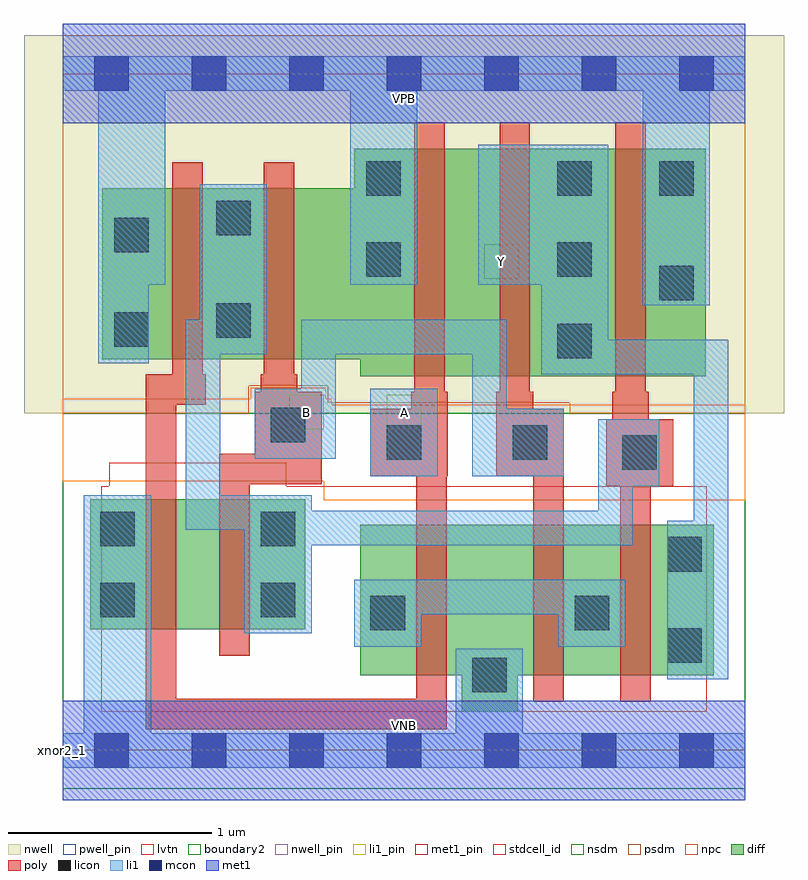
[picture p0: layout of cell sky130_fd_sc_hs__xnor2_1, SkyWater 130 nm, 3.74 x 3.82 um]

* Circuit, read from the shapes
.subckt sky130_fd_sc_hs__xnor2_1 A B VGND VNB VPB VPWR Y
XM1 n1 A VGND VNB sky130_fd_pr__nfet_01v8_lvt w=0.64 l=0.15
XM2 n2 B n1 VNB sky130_fd_pr__nfet_01v8_lvt w=0.64 l=0.15
XM3 VGND A n3 VNB sky130_fd_pr__nfet_01v8_lvt w=0.74 l=0.15
XM4 n3 B VGND VNB sky130_fd_pr__nfet_01v8_lvt w=0.74 l=0.15
XM5 Y n2 n3 VNB sky130_fd_pr__nfet_01v8_lvt w=0.74 l=0.15
XM6 n2 A VPWR VPB sky130_fd_pr__pfet_01v8 w=0.84 l=0.15
XM7 VPWR B n2 VPB sky130_fd_pr__pfet_01v8 w=0.84 l=0.15
XM8 n4 A VPWR VPB sky130_fd_pr__pfet_01v8 w=1.12 l=0.15
XM9 Y B n4 VPB sky130_fd_pr__pfet_01v8 w=1.12 l=0.15
XM10 VPWR n2 Y VPB sky130_fd_pr__pfet_01v8 w=1.12 l=0.15
.ends

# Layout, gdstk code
import gdstk
lib = gdstk.Library(unit=1e-6, precision=1e-09)
def R(c, l, rs):  # rectangles x0, y0, x1, y1
    for r in rs: c.add(gdstk.rectangle(r[:2], r[2:], *l))
def A(c, l, x, y, w, h, nx, ny, dx, dy):  # array of equal rectangles
    R(c, l, [(x+i*dx, y+j*dy, x+i*dx+w, y+j*dy+h) for i in range(nx) for j in range(ny)])
def P(c, l, *ps):  # polygons
    for p in ps: c.add(gdstk.Polygon(p, *l))
nwell_pin = (64, 16)
nwell = (64, 20)
diff = (65, 20)
poly = (66, 20)
licon = (66, 44)
li1_pin = (67, 16)
li1 = (67, 20)
mcon = (67, 44)
met1_pin = (68, 16)
met1 = (68, 20)
stdcell_id = (81, 4)
nsdm = (93, 44)
psdm = (94, 20)
npc = (95, 20)
pwell_pin = (122, 16)
lvtn = (125, 44)
boundary2 = (236, 0)

sky130_fd_sc_hs__xnor2_1 = lib.new_cell('sky130_fd_sc_hs__xnor2_1')
R(sky130_fd_sc_hs__xnor2_1, nwell_pin, [(0,3.085,3.36,3.33)])
R(sky130_fd_sc_hs__xnor2_1, nwell, [(-0.19,1.66,3.55,3.52)])
R(sky130_fd_sc_hs__xnor2_1, diff, [(0.135,0.595,1.195,1.235)])
P(sky130_fd_sc_hs__xnor2_1, diff, [(3.165,2.96),(1.435,2.96),(1.435,2.765),(0.195,2.765),(0.195,1.925),(1.465,1.925),(1.465,1.84),(3.165,1.84)],
  [(3.205,1.11),(1.465,1.11),(1.465,0.37),(1.965,0.37),(1.965,0.19),(2.24,0.19),(2.24,0.37),(3.205,0.37)])
P(sky130_fd_sc_hs__xnor2_1, poly, [(1.275,1.765),(1.155,1.765),(1.155,1.85),(1.14,1.85),(1.14,2.895),(0.99,2.895),(0.99,1.85),(0.975,1.85),(0.975,1.765),(0.945,1.765),(0.945,1.46),(0.77,1.46),(0.77,0.465),(0.92,0.465),(0.92,1.31),(1.275,1.31)],
  [(1.895,1.765),(1.88,1.765),(1.88,3.09),(1.73,3.09),(1.73,1.765),(1.715,1.765),(1.715,1.68),(1.515,1.68),(1.515,1.35),(1.74,1.35),(1.74,0.255),(0.56,0.255),(0.56,1.7),(0.705,1.7),(0.705,1.85),(0.69,1.85),(0.69,2.895),(0.54,2.895),(0.54,1.85),(0.41,1.85),(0.41,0.105),(1.89,0.105),(1.89,1.35),(1.895,1.35)],
  [(2.465,1.68),(2.315,1.68),(2.315,1.765),(2.3,1.765),(2.3,3.09),(2.15,3.09),(2.15,1.765),(2.135,1.765),(2.135,1.35),(2.315,1.35),(2.315,0.24),(2.465,0.24)],
  [(3.005,1.63),(2.885,1.63),(2.885,1.765),(2.87,1.765),(2.87,3.09),(2.72,3.09),(2.72,1.765),(2.705,1.765),(2.705,1.63),(2.675,1.63),(2.675,1.3),(2.745,1.3),(2.745,0.24),(2.895,0.24),(2.895,1.3),(3.005,1.3)])
A(sky130_fd_sc_hs__xnor2_1, licon, 2.435, 1.93, 0.17, 0.17, 1, 3, 0, 0.4)
R(sky130_fd_sc_hs__xnor2_1, licon, [(2.015,0.285,2.185,0.455), (2.975,0.43,3.145,0.6), (1.515,0.59,1.685,0.76), (2.52,0.59,2.69,0.76), (0.185,0.655,0.355,0.825), (0.975,0.655,1.145,0.825), (2.975,0.88,3.145,1.05), (0.185,1.005,0.355,1.175), (0.975,1.005,1.145,1.175), (2.755,1.38,2.925,1.55), (1.595,1.43,1.765,1.6), (2.215,1.43,2.385,1.6), (1.025,1.515,1.195,1.685), (0.255,1.985,0.425,2.155), (0.755,2.03,0.925,2.2), (2.935,2.215,3.105,2.385), (1.495,2.33,1.665,2.5), (0.255,2.45,0.425,2.62), (0.755,2.535,0.925,2.705), (1.495,2.73,1.665,2.9), (2.935,2.73,3.105,2.9)])
R(sky130_fd_sc_hs__xnor2_1, li1_pin, [(1.115,1.58,1.285,1.75), (1.595,1.58,1.765,1.75), (2.075,2.32,2.245,2.49)])
R(sky130_fd_sc_hs__xnor2_1, li1, [(1.515,1.35,1.845,1.78)])
P(sky130_fd_sc_hs__xnor2_1, li1, [(2.465,1.68),(2.185,1.68),(2.185,2.12),(1.175,2.12),(1.175,1.78),(0.945,1.78),(0.945,1.435),(1.345,1.435),(1.345,1.95),(2.015,1.95),(2.015,1.35),(2.465,1.35)],
  [(3.275,2.02),(2.685,2.02),(2.685,2.98),(2.045,2.98),(2.045,2.29),(2.355,2.29),(2.355,1.85),(3.105,1.85),(3.105,1.13),(2.975,1.13),(2.975,0.35),(3.275,0.35)],
  [(2.77,0.84),(1.435,0.84),(1.435,0.51),(1.765,0.51),(1.765,0.67),(2.44,0.67),(2.44,0.51),(2.77,0.51)],
  [(2.935,1.63),(2.635,1.63),(2.635,1.18),(1.225,1.18),(1.225,1.255),(0.775,1.255),(0.775,1.95),(1.005,1.95),(1.005,2.785),(0.675,2.785),(0.675,2.12),(0.605,2.12),(0.605,1.085),(0.895,1.085),(0.895,0.575),(1.225,0.575),(1.225,1.01),(2.805,1.01),(2.805,1.3),(2.935,1.3)],
  [(3.36,0.085),(2.265,0.085),(2.265,0.5),(1.935,0.5),(1.935,0.085),(0.435,0.085),(0.435,1.255),(0.105,1.255),(0.105,0.085),(0,0.085),(0,-0.085),(3.36,-0.085)],
  [(3.36,3.415),(0,3.415),(0,3.245),(0.175,3.245),(0.175,1.905),(0.425,1.905),(0.425,2.29),(0.505,2.29),(0.505,3.245),(1.415,3.245),(1.415,2.29),(1.745,2.29),(1.745,3.245),(2.855,3.245),(2.855,2.19),(3.185,2.19),(3.185,3.245),(3.36,3.245)])
A(sky130_fd_sc_hs__xnor2_1, mcon, 0.155, -0.085, 0.17, 0.17, 7, 2, 0.48, 3.33)
R(sky130_fd_sc_hs__xnor2_1, met1_pin, [(0,0,3.36,0.245), (0,3.085,3.36,3.33)])
R(sky130_fd_sc_hs__xnor2_1, met1, [(0,-0.245,3.36,0.245), (0,3.085,3.36,3.575)])
R(sky130_fd_sc_hs__xnor2_1, stdcell_id, [(0,0,3.36,3.33)])
R(sky130_fd_sc_hs__xnor2_1, nsdm, [(0,-0.19,3.36,1.66)])
P(sky130_fd_sc_hs__xnor2_1, psdm, [(3.36,3.52),(0,3.52),(0,1.66),(0.915,1.66),(0.915,1.795),(1.305,1.795),(1.305,1.71),(2.495,1.71),(2.495,1.66),(3.36,1.66)])
P(sky130_fd_sc_hs__xnor2_1, npc, [(3.36,1.7),(1.325,1.7),(1.325,1.73),(1.295,1.73),(1.295,1.785),(0.925,1.785),(0.925,1.73),(0,1.73),(0,1.325),(1.285,1.325),(1.285,1.23),(3.36,1.23)])
R(sky130_fd_sc_hs__xnor2_1, pwell_pin, [(0,0,3.36,0.245)])
P(sky130_fd_sc_hs__xnor2_1, lvtn, [(3.17,1.3),(1.1,1.3),(1.1,1.415),(0.23,1.415),(0.23,1.3),(0.19,1.3),(0.19,0.19),(3.17,0.19)])
R(sky130_fd_sc_hs__xnor2_1, boundary2, [(0,0,3.36,3.33)])
sky130_fd_sc_hs__xnor2_1.add(gdstk.Label('xnor2_1', (0,0), layer=83, texttype=44))
sky130_fd_sc_hs__xnor2_1.add(gdstk.Label('VNB', (1.68,0.123), layer=64, texttype=59))
sky130_fd_sc_hs__xnor2_1.add(gdstk.Label('VPB', (1.68,3.208), layer=64, texttype=5))
sky130_fd_sc_hs__xnor2_1.add(gdstk.Label('VPWR', (1.68,3.208), layer=68, texttype=5))
sky130_fd_sc_hs__xnor2_1.add(gdstk.Label('VGND', (1.68,0.123), layer=68, texttype=5))
sky130_fd_sc_hs__xnor2_1.add(gdstk.Label('A', (1.68,1.665), layer=67, texttype=5))
sky130_fd_sc_hs__xnor2_1.add(gdstk.Label('Y', (2.16,2.405), layer=67, texttype=5))
sky130_fd_sc_hs__xnor2_1.add(gdstk.Label('B', (1.2,1.665), layer=67, texttype=5))

lib.write_gds('sky130_fd_sc_hs__xnor2_1.gds')
